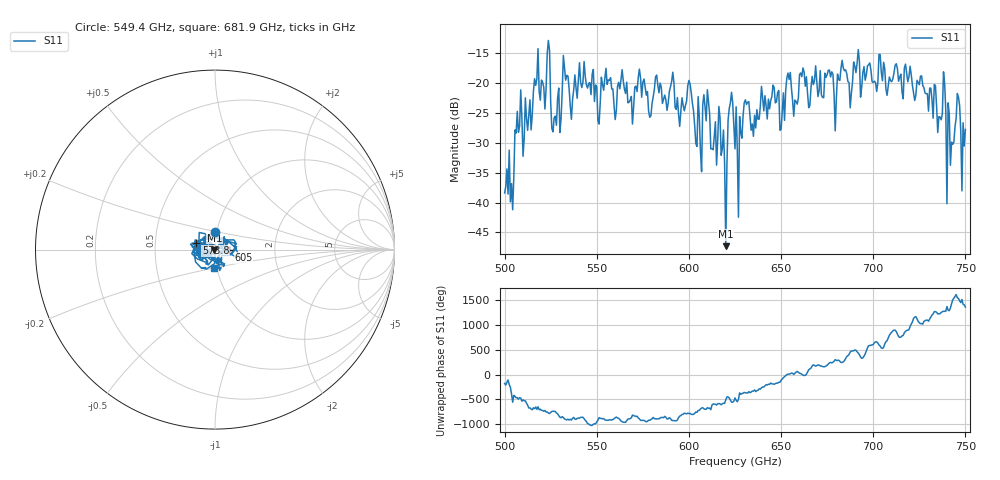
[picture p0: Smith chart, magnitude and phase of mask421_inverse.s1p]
!Created with skrf (http://scikit-rf.org).
# GHz S MA R 50.0
!freq magS11 angS11
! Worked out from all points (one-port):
!   401 points, 500 GHz to 750 GHz, reference 50 ohm
!   lowest |S11| = -47.3 dB at 620 GHz (marker M1), VSWR 1.01, Z = 49.6 - j0.224 ohm
!   |S11| at or under -10 dB: start of sweep to end of sweep
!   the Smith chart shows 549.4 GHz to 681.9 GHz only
!   S11 on the Smith chart (normalised r, x): 549.4 GHz: 0.99, +0.19; 573.8 GHz: 0.81, +0.06; 605 GHz: 1.17, -0.00; 681.9 GHz: 0.97, -0.21
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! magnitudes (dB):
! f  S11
! 500 GHz  -38.4
! 516.9 GHz  -20.4
! 523.8 GHz  -12.9
! 526.9 GHz  -25.8
! 531.2 GHz  -21.4
! 549.4 GHz  -20.3
! 562.5 GHz  -21.0
! 568.8 GHz  -22.2
! 573.8 GHz  -19.1
! 593.8 GHz  -22.4
! 600.6 GHz  -20.1
! 605 GHz  -22.3
! 609.4 GHz  -26.3
! 620 GHz  -47.3
! 622.5 GHz  -23.3
! 625 GHz  -31.0
! 627.5 GHz  -25.6
! 631.2 GHz  -23.6
! 635 GHz  -28.9
! 656.2 GHz  -22.9
! 681.9 GHz  -19.6
! 687.5 GHz  -24.1
! 690.6 GHz  -18.2
! 718.8 GHz  -19.8
! 738.1 GHz  -18.1
! 741.2 GHz  -25.2
! 745.6 GHz  -21.7
! 750 GHz  -27.8
